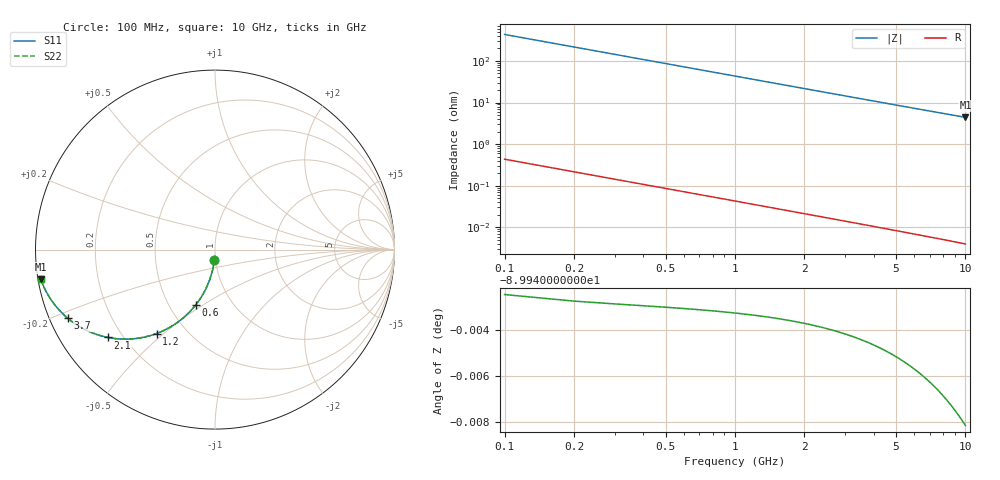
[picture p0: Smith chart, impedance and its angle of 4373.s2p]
# Hz S RI R 50.00
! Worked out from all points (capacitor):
!   100 points, 100 MHz to 10 GHz, reference 50 ohm
!   read as one part in shunt: C = 3.69 pF near 100 MHz
!   lowest |Z| = 4.4 ohm at 10 GHz (marker M1)
!   S11 on the Smith chart (normalised r, x): 100 MHz: 0.99, -0.11; 600 MHz: 0.67, -0.47; 1.2 GHz: 0.34, -0.47; 2.1 GHz: 0.15, -0.35; 3.7 GHz: 0.05, -0.22; 10 GHz: 0.01, -0.08
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1e8  -0.00338 -0.0577  0.9966 -0.0577  0.9966 -0.0577  -0.00338 -0.0577
2e8  -0.0133 -0.1142  0.9866 -0.1143  0.9866 -0.1143  -0.0133 -0.1142
3e8  -0.0294 -0.1684  0.9705 -0.1686  0.9705 -0.1686  -0.0294 -0.1684
4e8  -0.0511 -0.2195  0.9489 -0.2198  0.9489 -0.2198  -0.0511 -0.2195
5e8  -0.0775 -0.2668  0.9225 -0.2671  0.9225 -0.2671  -0.0775 -0.2668
6e8  -0.1079 -0.3095  0.8921 -0.3099  0.8921 -0.3099  -0.1079 -0.3095
7e8  -0.1412 -0.3476  0.8587 -0.348  0.8587 -0.348  -0.1412 -0.3476
9e8  -0.2136 -0.4091  0.7863 -0.4097  0.7863 -0.4097  -0.2136 -0.4091
1.2e9  -0.3255 -0.4677  0.6744 -0.4684  0.6744 -0.4684  -0.3255 -0.4677
1.5e9  -0.4297 -0.4941  0.5702 -0.495  0.5702 -0.495  -0.4297 -0.4941
1.8e9  -0.5203 -0.4985  0.4797 -0.4996  0.4797 -0.4996  -0.5203 -0.4985
2.1e9  -0.596 -0.4895  0.4039 -0.4908  0.4039 -0.4908  -0.596 -0.4895
2.4e9  -0.6582 -0.473  0.3417 -0.4745  0.3417 -0.4745  -0.6582 -0.473
2.7e9  -0.709 -0.4529  0.291 -0.4546  0.291 -0.4546  -0.709 -0.4529
3e9  -0.7504 -0.4313  0.2496 -0.4332  0.2496 -0.4332  -0.7504 -0.4313
3.4e9  -0.7942 -0.4027  0.2058 -0.4048  0.2058 -0.4048  -0.7942 -0.4027
3.7e9  -0.8204 -0.3822  0.1795 -0.3845  0.1795 -0.3845  -0.8204 -0.3822
4.3e9  -0.8604 -0.3447  0.1395 -0.3473  0.1395 -0.3473  -0.8604 -0.3447
5.1e9  -0.8965 -0.3024  0.1034 -0.3056  0.1034 -0.3056  -0.8965 -0.3024
6.7e9  -0.9372 -0.2399  0.0627 -0.2441  0.0627 -0.2441  -0.9372 -0.2399
8.4e9  -0.9591 -0.1948  0.0408 -0.2001  0.0408 -0.2001  -0.9591 -0.1948
1e10  -0.9708 -0.1646  0.0291 -0.171  0.0291 -0.171  -0.9708 -0.1646
